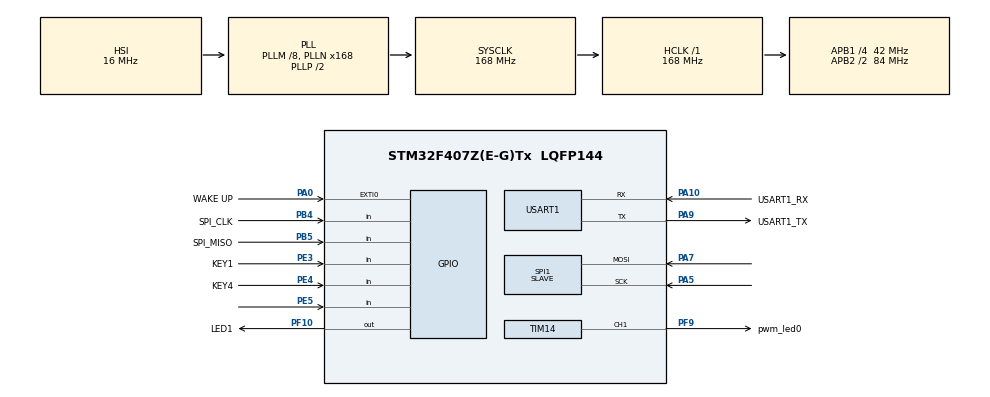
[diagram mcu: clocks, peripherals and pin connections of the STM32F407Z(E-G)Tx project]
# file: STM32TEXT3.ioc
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Mcu.Family=STM32F4
Mcu.Name=STM32F407Z(E-G)Tx
Mcu.Package=LQFP144
NVIC.EXTI0_IRQn=true\:0\:0\:false\:false\:true\:true
NVIC.PriorityGroup=NVIC_PRIORITYGROUP_2
NVIC.SPI1_IRQn=true\:2\:2\:true\:false\:true\:true
NVIC.TIM3_IRQn=true\:0\:0\:false\:false\:true\:true
PA0-WKUP.GPIO_Label=WAKE UP
PA0-WKUP.Signal=GPXTI0
PA10.GPIO_Label=USART1_RX
PA10.Mode=Asynchronous
PA10.Signal=USART1_RX
PA5.Mode=RX_Only_Simplex_Unidirect_Slave
PA5.Signal=SPI1_SCK
PA7.Mode=RX_Only_Simplex_Unidirect_Slave
PA7.Signal=SPI1_MOSI
PA9.GPIO_Label=USART1_TX
PA9.Mode=Asynchronous
PA9.Signal=USART1_TX
PB4.GPIO_Label=SPI_CLK
PB4.GPIO_PuPd=GPIO_PULLUP
PB4.Signal=GPIO_Input
PB5.GPIO_Label=SPI_MISO
PB5.GPIO_PuPd=GPIO_PULLUP
PB5.Signal=GPIO_Input
PC14-OSC32_IN.Mode=LSE-External-Oscillator
PC14-OSC32_IN.Signal=RCC_OSC32_IN
PC15-OSC32_OUT.Mode=LSE-External-Oscillator
PC15-OSC32_OUT.Signal=RCC_OSC32_OUT
PE3.GPIO_Label=KEY1
PE3.Signal=GPIO_Input
PE4.GPIO_Label=KEY4
PE4.Signal=GPIO_Input
PE5.Signal=GPIO_Input
PF10.GPIO_Label=LED1
PF10.Signal=GPIO_Output
PF9.GPIO_Label=pwm_led0
PF9.GPIO_Speed=GPIO_SPEED_FREQ_HIGH
PF9.Signal=S_TIM14_CH1
PH0-OSC_IN.Mode=HSE-External-Oscillator
PH0-OSC_IN.Signal=RCC_OSC_IN
PH1-OSC_OUT.Mode=HSE-External-Oscillator
PH1-OSC_OUT.Signal=RCC_OSC_OUT
ProjectManager.HeapSize=0x200
ProjectManager.StackSize=0x400
ProjectManager.TargetToolchain=MDK-ARM V5
RCC.48MHZClocksFreq_Value=84000000
RCC.AHBFreq_Value=168000000
RCC.APB1CLKDivider=RCC_HCLK_DIV4
RCC.APB1Freq_Value=42000000
RCC.APB1TimFreq_Value=84000000
RCC.APB2CLKDivider=RCC_HCLK_DIV2
RCC.APB2Freq_Value=84000000
RCC.APB2TimFreq_Value=168000000
RCC.CortexFreq_Value=168000000
RCC.HCLKFreq_Value=168000000
RCC.HSE_VALUE=8000000
RCC.HSI_VALUE=16000000
RCC.PLLM=8
RCC.PLLN=168
RCC.SYSCLKFreq_VALUE=168000000
RCC.SYSCLKSource=RCC_SYSCLKSOURCE_PLLCLK
RCC.VCOOutputFreq_Value=336000000
SH.S_TIM14_CH1.0=TIM14_CH1,PWM Generation1 CH1
SPI1.CLKPolarity=SPI_POLARITY_HIGH
SPI1.Direction=SPI_DIRECTION_2LINES_RXONLY
SPI1.Mode=SPI_MODE_SLAVE
SPI1.VirtualType=VM_SLAVE
TIM14.Channel=TIM_CHANNEL_1
TIM14.Period=200-1
TIM14.Prescaler=840-1
USART1.VirtualMode=VM_ASYNC
VP_TIM14_VS_ClockSourceINT.Mode=Enable_Timer
VP_TIM3_VS_ClockSourceINT.Mode=Internal
board=STM32TEXT3

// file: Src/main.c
/**
  ******************************************************************************
  * File Name          : main.c
  * Description        : Main program body
  ******************************************************************************
  ** This notice applies to any and all portions of this file
  * that are not between comment pairs USER CODE BEGIN and
  * USER CODE END. Other portions of this file, whether
  * inserted by the user or by software development tools
  * are owned by their respective copyright owners.
  *
  * COPYRIGHT(c) 2018 STMicroelectronics
  *
  * Redistribution and use in source and binary forms, with or without modification,
  * are permitted provided that the following conditions are met:
  *   1. Redistributions of source code must retain the above copyright notice,
  *      this list of conditions and the following disclaimer.
  *   2. Redistributions in binary form must reproduce the above copyright notice,
  *      this list of conditions and the following disclaimer in the documentation
  *      and/or other materials provided with the distribution.
  *   3. Neither the name of STMicroelectronics nor the names of its contributors
  *      may be used to endorse or promote products derived from this software
  *      without specific prior written permission.
  *
  * THIS SOFTWARE IS PROVIDED BY THE COPYRIGHT HOLDERS AND CONTRIBUTORS "AS IS"
  * AND ANY EXPRESS OR IMPLIED WARRANTIES, INCLUDING, BUT NOT LIMITED TO, THE
  * IMPLIED WARRANTIES OF MERCHANTABILITY AND FITNESS FOR A PARTICULAR PURPOSE ARE
  * DISCLAIMED. IN NO EVENT SHALL THE COPYRIGHT HOLDER OR CONTRIBUTORS BE LIABLE
  * FOR ANY DIRECT, INDIRECT, INCIDENTAL, SPECIAL, EXEMPLARY, OR CONSEQUENTIAL
  * DAMAGES (INCLUDING, BUT NOT LIMITED TO, PROCUREMENT OF SUBSTITUTE GOODS OR
  * SERVICES; LOSS OF USE, DATA, OR PROFITS; OR BUSINESS INTERRUPTION) HOWEVER
  * CAUSED AND ON ANY THEORY OF LIABILITY, WHETHER IN CONTRACT, STRICT LIABILITY,
  * OR TORT (INCLUDING NEGLIGENCE OR OTHERWISE) ARISING IN ANY WAY OUT OF THE USE
  * OF THIS SOFTWARE, EVEN IF ADVISED OF THE POSSIBILITY OF SUCH DAMAGE.
  *
  ******************************************************************************
  */

#include "main.h"
#include "stm32f4xx_hal.h"
#include "spi.h"
#include "tim.h"
#include "usart.h"
#include "gpio.h"

/* USER CODE BEGIN Includes */
#include "TN9.h"
/* USER CODE END Includes */

/* USER CODE BEGIN PV */
/* Private variables ---------------------------------------------------------*/

/* USER CODE END PV */

void SystemClock_Config(void);

/* USER CODE BEGIN PFP */
/* Private function prototypes -----------------------------------------------*/

/* USER CODE END PFP */

int main(void)
{

  /* USER CODE BEGIN 1 */
//	uint16_t pwm_value=200;
	float Data;         //接收温度返回数据
	uint8_t *temp=NULL;
  /* USER CODE END 1 */

  /* MCU Configuration----------------------------------------------------------*/

  /* Reset of all peripherals, Initializes the Flash interface and the Systick. */
  HAL_Init();

  /* Configure the system clock */
  SystemClock_Config();

  /* Initialize all configured peripherals */
  MX_GPIO_Init();
  MX_TIM3_Init();
  MX_TIM14_Init();
  MX_USART1_UART_Init();
  MX_SPI1_Init();

  /* USER CODE BEGIN 2 */
//	HAL_TIM_PWM_Start(&htim14, TIM_CHANNEL_1);
	printf("\n\r UART Printf Example: retarget the C library printf function to the UART\n\r");
  /* USER CODE END 2 */

  /* Infinite loop */
  while (1)
  {

  /* USER CODE BEGIN 3 */
//    printf("\n\r welcome to www.waveshere.com !!!\n\r");
//
//		temp=(uint8_t *)SPI_Receiver_MulDat();
//		printf("message=%c %c\n",temp[1],temp[2]);

		  HAL_SPI_Receive(&hspi1,(uint8_t *)Receive_Buffer,4,5000);
//		if(Receive_flag)												  //接收成功
//		{
			temp=Receive_Buffer;
			Data=(float)(temp[1]<<8|temp[2]);				//数据整合
			Data=Data/16-273;												//温度换算
			if('L'==temp[0])    										//该数据为目标温度
				printf("目标温度为：%.f摄氏度",Data);
			else if('f'==temp[0])										//该数据为环境温度
				printf("环境温度为：%.f摄氏度",Data);
			else
				printf("数据错误");
//		}
			HAL_GPIO_TogglePin(LED1_GPIO_Port, LED1_Pin);		//提示程序运行
		HAL_Delay(1000);
  }
  /* USER CODE END 3 */

}

/** System Clock Configuration
*/
void SystemClock_Config(void)
{

  RCC_OscInitTypeDef RCC_OscInitStruct;
  RCC_ClkInitTypeDef RCC_ClkInitStruct;

    /**Configure the main internal regulator output voltage
    */
  __HAL_RCC_PWR_CLK_ENABLE();

  __HAL_PWR_VOLTAGESCALING_CONFIG(PWR_REGULATOR_VOLTAGE_SCALE1);

    /**Initializes the CPU, AHB and APB busses clocks
    */
  RCC_OscInitStruct.OscillatorType = RCC_OSCILLATORTYPE_HSI;
  RCC_OscInitStruct.HSIState = RCC_HSI_ON;
  RCC_OscInitStruct.HSICalibrationValue = 16;
  RCC_OscInitStruct.PLL.PLLState = RCC_PLL_ON;
  RCC_OscInitStruct.PLL.PLLSource = RCC_PLLSOURCE_HSI;
  RCC_OscInitStruct.PLL.PLLM = 8;
  RCC_OscInitStruct.PLL.PLLN = 168;
  RCC_OscInitStruct.PLL.PLLP = RCC_PLLP_DIV2;
  RCC_OscInitStruct.PLL.PLLQ = 4;
  if (HAL_RCC_OscConfig(&RCC_OscInitStruct) != HAL_OK)
  {
    _Error_Handler(__FILE__, __LINE__);
  }

    /**Initializes the CPU, AHB and APB busses clocks
    */
  RCC_ClkInitStruct.ClockType = RCC_CLOCKTYPE_HCLK|RCC_CLOCKTYPE_SYSCLK
                              |RCC_CLOCKTYPE_PCLK1|RCC_CLOCKTYPE_PCLK2;
  RCC_ClkInitStruct.SYSCLKSource = RCC_SYSCLKSOURCE_PLLCLK;
  RCC_ClkInitStruct.AHBCLKDivider = RCC_SYSCLK_DIV1;
  RCC_ClkInitStruct.APB1CLKDivider = RCC_HCLK_DIV4;
  RCC_ClkInitStruct.APB2CLKDivider = RCC_HCLK_DIV2;

  if (HAL_RCC_ClockConfig(&RCC_ClkInitStruct, FLASH_LATENCY_5) != HAL_OK)
  {
    _Error_Handler(__FILE__, __LINE__);
  }

    /**Configure the Systick interrupt time
    */
  HAL_SYSTICK_Config(HAL_RCC_GetHCLKFreq()/1000);

    /**Configure the Systick
    */
  HAL_SYSTICK_CLKSourceConfig(SYSTICK_CLKSOURCE_HCLK);

  /* SysTick_IRQn interrupt configuration */
  HAL_NVIC_SetPriority(SysTick_IRQn, 0, 0);
}

/* USER CODE BEGIN 4 */
void user_pwm_setvalue(uint16_t value)
{
		TIM_OC_InitTypeDef sConfigOC;
    sConfigOC.OCMode = TIM_OCMODE_PWM1;
    sConfigOC.Pulse = value;
    sConfigOC.OCPolarity = TIM_OCPOLARITY_HIGH;
    sConfigOC.OCFastMode = TIM_OCFAST_DISABLE;
    HAL_TIM_PWM_ConfigChannel(&htim14, &sConfigOC, TIM_CHANNEL_1);
    HAL_TIM_PWM_Start(&htim14, TIM_CHANNEL_1);

}

//void HAL_GPIO_EXTI_Callback(uint16_t GPIO_Pin)
//{
//	if(GPIO_Pin==GPIO_PIN_0)
//	{
//
//	}
//}

/* USER CODE END 4 */

void _Error_Handler(char * file, int line)
{
  while(1)
  {
  }
}

/************************ (C) COPYRIGHT STMicroelectronics *****END OF FILE****/
